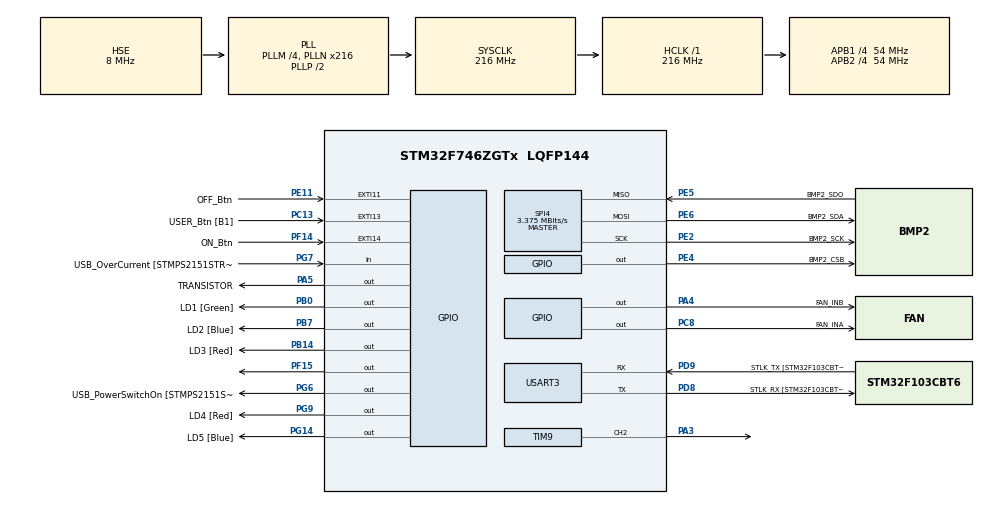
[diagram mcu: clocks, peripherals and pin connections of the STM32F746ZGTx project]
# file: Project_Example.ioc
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Mcu.Family=STM32F7
Mcu.Name=STM32F746ZGTx
Mcu.Package=LQFP144
NVIC.PriorityGroup=NVIC_PRIORITYGROUP_4
NVIC.TIM2_IRQn=true\:0\:0\:false\:false\:true\:true\:true\:true
NVIC.USART3_IRQn=true\:0\:0\:false\:false\:true\:true\:true\:true
PA1.GPIO_Label=RMII_REF_CLK [LAN8742A-CZ-TR_REFCLK0]
PA1.Signal=ETH_REF_CLK
PA10.GPIO_Label=USB_ID
PA10.Signal=USB_OTG_FS_ID
PA11.GPIO_Label=USB_DM
PA11.Signal=USB_OTG_FS_DM
PA12.GPIO_Label=USB_DP
PA12.Signal=USB_OTG_FS_DP
PA13.GPIO_Label=TMS
PA13.Mode=Serial_Wire
PA13.Signal=SYS_JTMS-SWDIO
PA14.GPIO_Label=TCK
PA14.Mode=Serial_Wire
PA14.Signal=SYS_JTCK-SWCLK
PA2.GPIO_Label=RMII_MDIO [LAN8742A-CZ-TR_MDIO]
PA2.Signal=ETH_MDIO
PA3.Signal=S_TIM9_CH2
PA4.GPIO_Label=FAN_INB
PA4.GPIO_Speed=GPIO_SPEED_FREQ_VERY_HIGH
PA4.Signal=GPIO_Output
PA5.GPIO_Label=TRANSISTOR
PA5.GPIO_Speed=GPIO_SPEED_FREQ_VERY_HIGH
PA5.PinState=GPIO_PIN_SET
PA5.Signal=GPIO_Output
PA7.GPIO_Label=RMII_CRS_DV [LAN8742A-CZ-TR_CRS_DV]
PA7.Signal=ETH_CRS_DV
PA8.GPIO_Label=USB_SOF [TP1]
PA8.Signal=USB_OTG_FS_SOF
PA9.GPIO_Label=USB_VBUS
PA9.Signal=USB_OTG_FS_VBUS
PB0.GPIO_Label=LD1 [Green]
PB0.Signal=GPIO_Output
PB13.GPIO_Label=RMII_TXD1 [LAN8742A-CZ-TR_TXD1]
PB13.Signal=ETH_TXD1
PB14.GPIO_Label=LD3 [Red]
PB14.Signal=GPIO_Output
PB3.GPIO_Label=SW0
PB3.Signal=SYS_JTDO-SWO
PB7.GPIO_Label=LD2 [Blue]
PB7.Signal=GPIO_Output
PC1.GPIO_Label=RMII_MDC [LAN8742A-CZ-TR_MDC]
PC1.Signal=ETH_MDC
PC13.GPIO_Label=USER_Btn [B1]
PC13.Signal=GPXTI13
PC14/OSC32_IN.Mode=LSE-External-Oscillator
PC14/OSC32_IN.Signal=RCC_OSC32_IN
PC15/OSC32_OUT.Mode=LSE-External-Oscillator
PC15/OSC32_OUT.Signal=RCC_OSC32_OUT
PC4.GPIO_Label=RMII_RXD0 [LAN8742A-CZ-TR_RXD0]
PC4.Signal=ETH_RXD0
PC5.GPIO_Label=RMII_RXD1 [LAN8742A-CZ-TR_RXD1]
PC5.Signal=ETH_RXD1
PC8.GPIO_Label=FAN_INA
PC8.GPIO_Speed=GPIO_SPEED_FREQ_VERY_HIGH
PC8.PinState=GPIO_PIN_RESET
PC8.Signal=GPIO_Output
PD8.GPIO_Label=STLK_RX [STM32F103CBT6_PA3]
PD8.GPIO_PuPd=GPIO_PULLUP
PD8.Mode=Asynchronous
PD8.Signal=USART3_TX
PD9.GPIO_Label=STLK_TX [STM32F103CBT6_PA2]
PD9.GPIO_PuPd=GPIO_PULLUP
PD9.Mode=Asynchronous
PD9.Signal=USART3_RX
PE11.GPIO_Label=OFF_Btn
PE11.GPIO_PuPd=GPIO_PULLDOWN
PE11.Signal=GPXTI11
PE2.GPIO_Label=BMP2_SCK
PE2.Mode=Full_Duplex_Master
PE2.Signal=SPI4_SCK
PE4.GPIO_Label=BMP2_CSB
PE4.GPIO_Speed=GPIO_SPEED_FREQ_VERY_HIGH
PE4.Signal=GPIO_Output
PE5.GPIO_Label=BMP2_SDO
PE5.Mode=Full_Duplex_Master
PE5.Signal=SPI4_MISO
PE6.GPIO_Label=BMP2_SDA
PE6.Mode=Full_Duplex_Master
PE6.Signal=SPI4_MOSI
PF14.GPIO_Label=ON_Btn
PF14.GPIO_ModeDefaultEXTI=GPIO_MODE_IT_FALLING
PF14.GPIO_PuPd=GPIO_PULLUP
PF14.Signal=GPXTI14
PF15.Signal=GPIO_Output
PG11.GPIO_Label=RMII_TX_EN [LAN8742A-CZ-TR_TXEN]
PG11.Signal=ETH_TX_EN
PG13.GPIO_Label=RMII_TXD0 [LAN8742A-CZ-TR_TXD0]
PG13.Signal=ETH_TXD0
PG14.GPIO_Label=LD5 [Blue]
PG14.Signal=GPIO_Output
PG6.GPIO_Label=USB_PowerSwitchOn [STMPS2151STR_EN]
PG6.Signal=GPIO_Output
PG7.GPIO_Label=USB_OverCurrent [STMPS2151STR_FAULT]
PG7.Signal=GPIO_Input
PG9.GPIO_Label=LD4 [Red]
PG9.Signal=GPIO_Output
PH0/OSC_IN.GPIO_Label=MCO [STM32F103CBT6_PA8]
PH0/OSC_IN.Mode=HSE-External-Clock-Source
PH0/OSC_IN.Signal=RCC_OSC_IN
PH1/OSC_OUT.Mode=HSE-External-Clock-Source
PH1/OSC_OUT.Signal=RCC_OSC_OUT
ProjectManager.HeapSize=0x200
ProjectManager.StackSize=0x400
ProjectManager.TargetToolchain=STM32CubeIDE
RCC.48MHZClocksFreq_Value=24000000
RCC.AHBFreq_Value=216000000
RCC.APB1CLKDivider=RCC_HCLK_DIV4
RCC.APB1Freq_Value=54000000
RCC.APB1TimFreq_Value=108000000
RCC.APB2CLKDivider=RCC_HCLK_DIV4
RCC.APB2Freq_Value=54000000
RCC.APB2TimFreq_Value=108000000
RCC.CortexFreq_Value=216000000
RCC.HCLKFreq_Value=216000000
RCC.HSE_VALUE=8000000
RCC.HSI_VALUE=16000000
RCC.PLLM=4
RCC.PLLMUL=RCC_PLL_MUL9
RCC.PLLN=216
RCC.PLLQ=3
RCC.PLLSourceVirtual=RCC_PLLSOURCE_HSE
RCC.PRESCALERUSB=RCC_USBCLKSOURCE_PLL_DIV1_5
RCC.SYSCLKFreq_VALUE=216000000
RCC.SYSCLKSource=RCC_SYSCLKSOURCE_PLLCLK
RCC.SYSCLKSourceVirtual=RCC_SYSCLKSOURCE_PLLCLK
RCC.USBFreq_Value=144000000
RCC.VCOOutputFreq_Value=432000000
SH.S_TIM9_CH2.0=TIM9_CH2,PWM Generation2 CH2
SPI4.BaudRatePrescaler=SPI_BAUDRATEPRESCALER_16
SPI4.CLKPhase=SPI_PHASE_2EDGE
SPI4.CLKPolarity=SPI_POLARITY_HIGH
SPI4.CalculateBaudRate=3.375 MBits/s
SPI4.DataSize=SPI_DATASIZE_8BIT
SPI4.Direction=SPI_DIRECTION_2LINES
SPI4.Mode=SPI_MODE_MASTER
SPI4.VirtualType=VM_MASTER
TIM2.Period=24999
TIM2.Prescaler=1079
TIM4.Period=999
TIM4.Prescaler=107
TIM9.Channel-PWM\ Generation2\ CH2=TIM_CHANNEL_2
TIM9.Period=99
TIM9.Prescaler=107
USART3.VirtualMode-Asynchronous=VM_ASYNC
VP_TIM2_VS_ClockSourceINT.Mode=Internal
VP_TIM4_VS_ClockSourceINT.Mode=Internal
VP_TIM9_VS_ClockSourceINT.Mode=Internal
board=NUCLEO-F746ZG

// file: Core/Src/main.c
/* USER CODE BEGIN Header */
/**
  ******************************************************************************
  * @file           : main.c
  * @brief          : Main program body
  ******************************************************************************
  * @attention
  *
  * Copyright (c) 2023 STMicroelectronics.
  * All rights reserved.
  *
  * This software is licensed under terms that can be found in the LICENSE file
  * in the root directory of this software component.
  * If no LICENSE file comes with this software, it is provided AS-IS.
  *
  ******************************************************************************
  */
/* USER CODE END Header */
#include "main.h"
#include "spi.h"
#include "tim.h"
#include "usart.h"
#include "gpio.h"

/* USER CODE BEGIN Includes */
#include <stdio.h>
#include <stdlib.h>
#include "bmp2_config.h"
#include "heater_config.h"
/* USER CODE END Includes */

/* USER CODE BEGIN PV */
double temp = 0.0f;     // [degC]
unsigned int temp_int;	// [mdegC]
double press = 0.0f;

uint8_t tx_buffer[8];
const int tx_msg_len = 3;
/* USER CODE END PV */

void SystemClock_Config(void);

/* USER CODE BEGIN 0 */
// PID Controller Structure
typedef struct {
    float Kp; // Proportional Gain
    float Ki; // Integral Gain
    float Kd; // Derivative Gain
    float prevError; // Previous error
    float integral; // Integral of error
    float setpoint; // Desired value
} PID_Controller;

PID_Controller pid; // PID controller instance

void PID_Init(PID_Controller *pid, float Kp, float Ki, float Kd, float setpoint) {
    pid->Kp = Kp;
    pid->Ki = Ki;
    pid->Kd = Kd;
    pid->prevError = 0.0f;
    pid->integral = 0.0f;
    pid->setpoint = setpoint;
}

float PID_Compute(PID_Controller *pid, float currentTemperature) {
    float error = pid->setpoint - currentTemperature;
    pid->integral += error;
    float derivative = error - pid->prevError;
    float output = (pid->Kp * error) + (pid->Ki * pid->integral) + (pid->Kd * derivative);
    pid->prevError = error;
    return output;
}

void HAL_TIM_PeriodElapsedCallback(TIM_HandleTypeDef *htim)
{
  if(htim == &htim2)
  {
    static unsigned int cnt = 0;
    cnt++;
    BMP2_ReadData(&bmp2dev, &press, &temp); // Assuming BMP2_ReadData updates both `press` and `temp`

    temp_int = (unsigned int)(temp * 1000); // Convert float temperature to integer (millidegrees)

    // PID computation and control logic
    float controlEffort = PID_Compute(&pid, temp);
    //ControlHeaterFan(temp, pid.setpoint);

  }
}

/* Control Heater and Fan based on PID output and Hysteresis */
void ControlHeaterFan(float currentTemperature, float setpoint) {
    static uint8_t heaterOn = 0;
    static uint8_t fanOn = 0;

    // Define hysteresis threshold
    const float hysteresis = 0.04f; // Degree Celsius

    // Decide on heater or fan based on control effort and hysteresis
    if (currentTemperature < setpoint - hysteresis + 0.03 ) {
        heaterOn = 1; // Turn heater on
        fanOn = 0;    // Ensure fan is off
    } else if (currentTemperature > setpoint + hysteresis) {
        heaterOn = 0; // Ensure heater is off
        fanOn = 1;    // Turn fan on
    } else if(currentTemperature < setpoint - hysteresis) {
        HAL_GPIO_WritePin(GPIOA, GPIO_PIN_4, GPIO_PIN_RESET); // Fan control (INA)
        HAL_GPIO_WritePin(GPIOC, GPIO_PIN_8, GPIO_PIN_SET);

    }

    // Actuate the heater or fan based on the above logic
    HAL_GPIO_WritePin(GPIOA, GPIO_PIN_5, heaterOn ? GPIO_PIN_SET : GPIO_PIN_RESET); // Heater control
    HAL_GPIO_WritePin(GPIOA, GPIO_PIN_4, fanOn ? GPIO_PIN_SET : GPIO_PIN_RESET); // Fan control (INA)
    HAL_GPIO_WritePin(GPIOC, GPIO_PIN_8, fanOn ? GPIO_PIN_RESET : GPIO_PIN_SET); // Fan control (INB), assuming needed logic
}

// Global or accessible variable declarations
double targetTemperature = 0.0f;  // Target temperature initialized

void SendTemperatureValues() {
    char outputBuffer[50]; // Adjust size as needed
    int messageLength = snprintf(outputBuffer, sizeof(outputBuffer), "Target: %.1f, Current: %.1f\r\n", targetTemperature, temp);
    HAL_UART_Transmit(&huart3, (uint8_t*)outputBuffer, messageLength, 100);
}

char inputBuffer[10]; // Adjust based on expected input size
int inputIndex = 0; // Tracks the position in the input buffer

void HAL_UART_RxCpltCallback(UART_HandleTypeDef *huart) {
    if (huart == &huart3) {
        // Check if received character is newline (end of message)
        if (inputBuffer[inputIndex] == '\n') {
            // Null-terminate the string
            inputBuffer[inputIndex] = '\0';

            // Attempt to convert to float
            char* endPtr;
            double newTarget = strtod(inputBuffer, &endPtr);

            // Check if conversion succeeded and the value is in the correct format
            if (endPtr != inputBuffer && *endPtr == '\0' && strchr(inputBuffer, '.') && (endPtr - strchr(inputBuffer, '.')) == 2) {
                // Valid float with one decimal received, update target temperature
                targetTemperature = newTarget;
            } else {
                // Invalid input, prompt for re-entry
                char* errMsg = "Invalid input. Please enter a float value with one decimal:\r\n";
                HAL_UART_Transmit(&huart3, (uint8_t*)errMsg, strlen(errMsg), 100);
            }

            // Reset input buffer for next message
            inputIndex = 0;
        } else {
            // Add received character to buffer if not full, and increment index
            if (inputIndex < sizeof(inputBuffer) - 1) {
                inputIndex++;
            }
        }
        // Prepare to receive the next character
        HAL_UART_Receive_IT(&huart3, (uint8_t*)&inputBuffer[inputIndex], 1);
    }
}

/* USER CODE END 0 */

int main(void)
{

  /* MCU Configuration--------------------------------------------------------*/

  /* Reset of all peripherals, Initializes the Flash interface and the Systick. */
  HAL_Init();

  /* Configure the system clock */
  SystemClock_Config();

  /* Initialize all configured peripherals */
  MX_GPIO_Init();
  MX_USART3_UART_Init();
  MX_SPI4_Init();
  MX_TIM2_Init();
  MX_TIM4_Init();
  MX_TIM9_Init();
  /* USER CODE BEGIN 2 */
  BMP2_Init(&bmp2dev);
  PID_Init(&pid, 0.5f, 0.01f, 0.5f, 25); //targetTemperature Example: Kp=2.0, Ki=0.01, Kd=0.5, Setpoint=25°C
  HAL_TIM_Base_Start_IT(&htim2);
  HAL_UART_Receive_IT(&huart3, tx_buffer, tx_msg_len);

  /* USER CODE END 2 */

  /* Infinite loop */
  /* USER CODE BEGIN WHILE */
  while (1)
  {
	  ControlHeaterFan(temp, pid.setpoint);
    /* USER CODE END WHILE */

  }
}

void SystemClock_Config(void)
{
  RCC_OscInitTypeDef RCC_OscInitStruct = {0};
  RCC_ClkInitTypeDef RCC_ClkInitStruct = {0};

  /** Configure LSE Drive Capability
  */
  HAL_PWR_EnableBkUpAccess();

  /** Configure the main internal regulator output voltage
  */
  __HAL_RCC_PWR_CLK_ENABLE();
  __HAL_PWR_VOLTAGESCALING_CONFIG(PWR_REGULATOR_VOLTAGE_SCALE1);

  /** Initializes the RCC Oscillators according to the specified parameters
  * in the RCC_OscInitTypeDef structure.
  */
  RCC_OscInitStruct.OscillatorType = RCC_OSCILLATORTYPE_HSE;
  RCC_OscInitStruct.HSEState = RCC_HSE_BYPASS;
  RCC_OscInitStruct.PLL.PLLState = RCC_PLL_ON;
  RCC_OscInitStruct.PLL.PLLSource = RCC_PLLSOURCE_HSE;
  RCC_OscInitStruct.PLL.PLLM = 4;
  RCC_OscInitStruct.PLL.PLLN = 216;
  RCC_OscInitStruct.PLL.PLLP = RCC_PLLP_DIV2;
  RCC_OscInitStruct.PLL.PLLQ = 3;
  if (HAL_RCC_OscConfig(&RCC_OscInitStruct) != HAL_OK)
  {
    Error_Handler();
  }

  /** Activate the Over-Drive mode
  */
  if (HAL_PWREx_EnableOverDrive() != HAL_OK)
  {
    Error_Handler();
  }

  /** Initializes the CPU, AHB and APB buses clocks
  */
  RCC_ClkInitStruct.ClockType = RCC_CLOCKTYPE_HCLK|RCC_CLOCKTYPE_SYSCLK
                              |RCC_CLOCKTYPE_PCLK1|RCC_CLOCKTYPE_PCLK2;
  RCC_ClkInitStruct.SYSCLKSource = RCC_SYSCLKSOURCE_PLLCLK;
  RCC_ClkInitStruct.AHBCLKDivider = RCC_SYSCLK_DIV1;
  RCC_ClkInitStruct.APB1CLKDivider = RCC_HCLK_DIV4;
  RCC_ClkInitStruct.APB2CLKDivider = RCC_HCLK_DIV4;

  if (HAL_RCC_ClockConfig(&RCC_ClkInitStruct, FLASH_LATENCY_7) != HAL_OK)
  {
    Error_Handler();
  }
}

void Error_Handler(void)
{
  __disable_irq();
  while (1)
  {
  }
}
